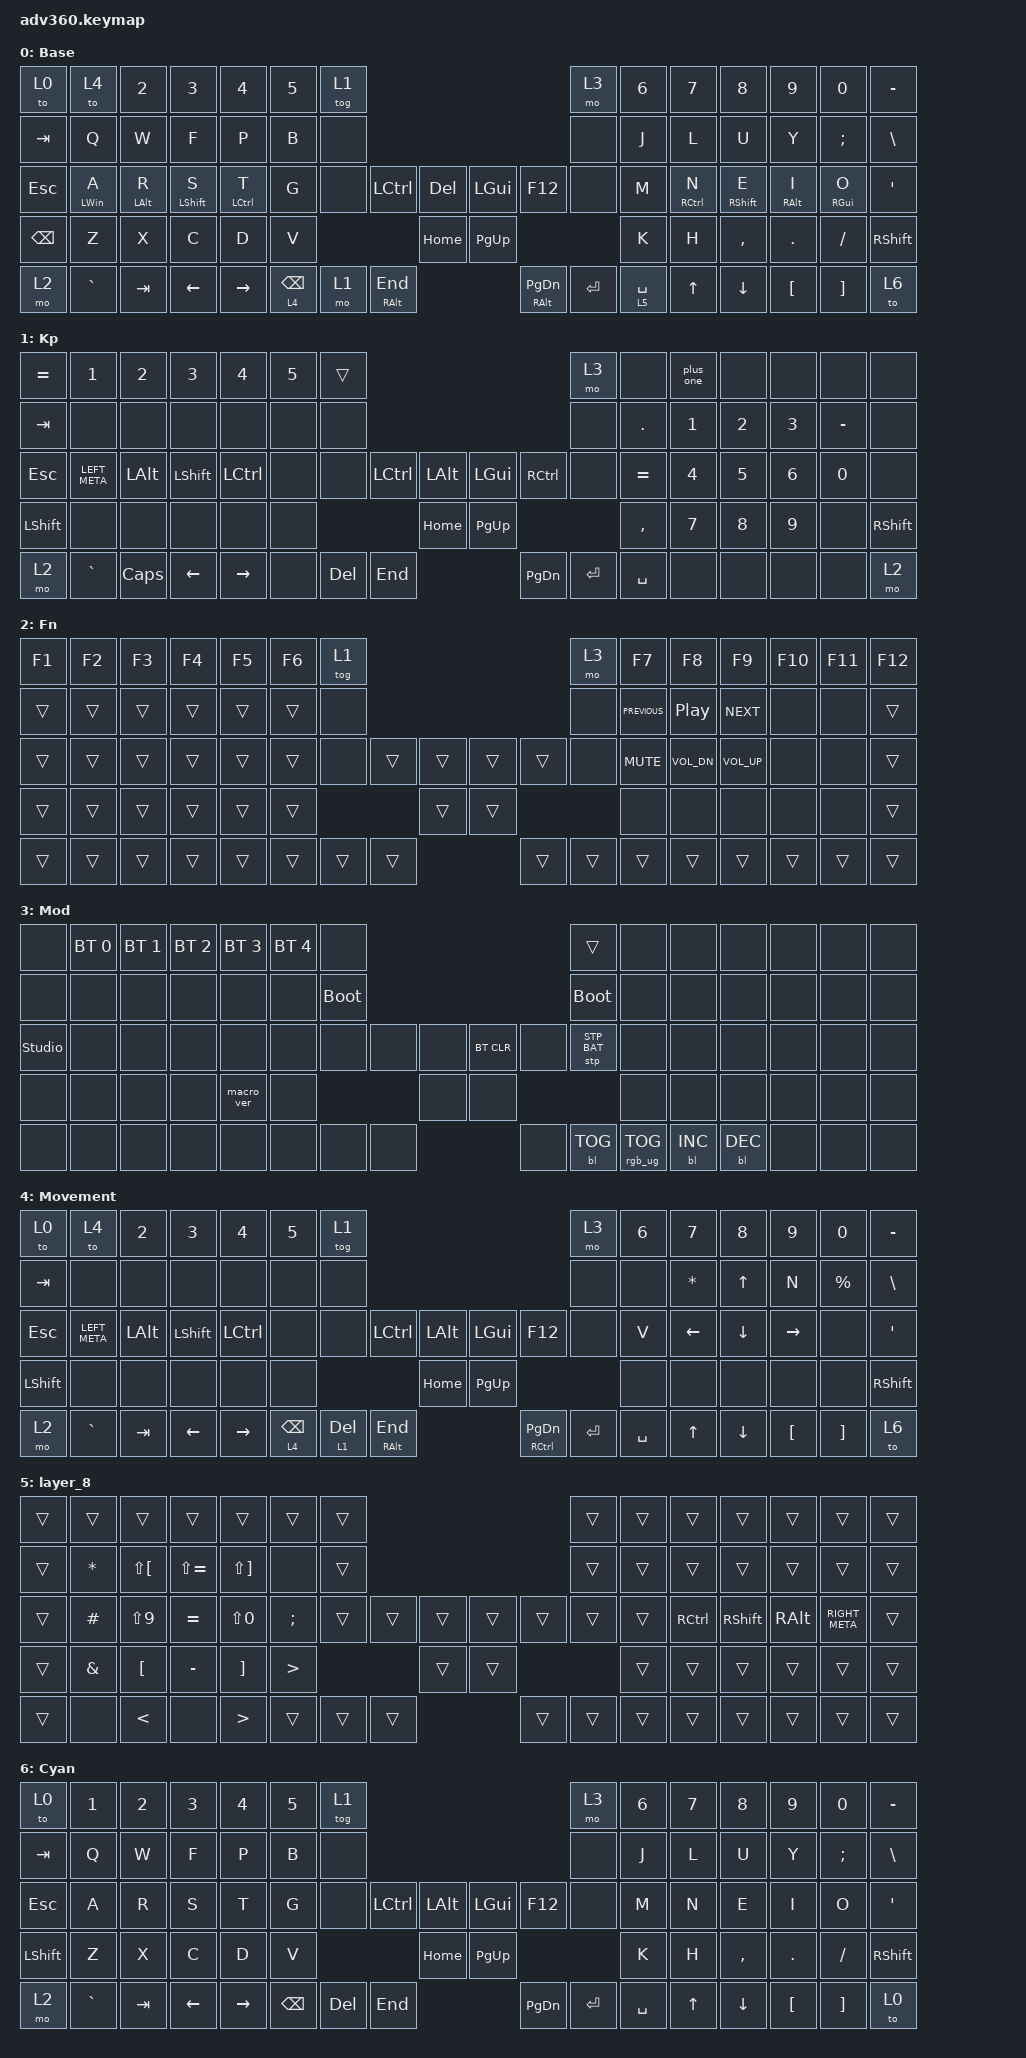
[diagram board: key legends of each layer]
#include <dt-bindings/zmk/stp.h>
#include <behaviors.dtsi>
#include <dt-bindings/zmk/backlight.h>
#include <dt-bindings/zmk/bt.h>
#include <dt-bindings/zmk/keys.h>
#include <dt-bindings/zmk/rgb.h>

/ {
    behaviors {
        #include "macros.dtsi"
        #include "version.dtsi"

        hml: homerow_mods_left {
            compatible = "zmk,behavior-hold-tap";
            label = "HML";
            bindings = <&kp>, <&kp>;

            #binding-cells = <2>;
            tapping-term-ms = <280>;
            quick-tap-ms = <175>;
            require-prior-idle-ms = <120>;
            flavor = "balanced";
            hold-trigger-on-release;
            hold-trigger-key-positions = <7 8 9 10 11 12 13 21 22 23 24 25 26 27 39 40 41 42 43 44 45 54 55 56 57 58 59 71 72 73 74 75>;
        };

        hmr: homerow_mods_right {
            compatible = "zmk,behavior-hold-tap";
            label = "HMR";
            bindings = <&kp>, <&kp>;

            #binding-cells = <2>;
            tapping-term-ms = <280>;
            quick-tap-ms = <175>;
            require-prior-idle-ms = <120>;
            flavor = "balanced";
            hold-trigger-on-release;
            hold-trigger-key-positions = <0 1 2 3 4 5 6 14 15 16 17 18 19 20 28 29 30 31 32 33 34 46 47 48 49 50 51 60 61 62 63 64>;
        };

        bspace: bspace {
            compatible = "zmk,behavior-hold-tap";
            label = "BSPACE";
            bindings = <&mo>, <&kp>;

            #binding-cells = <2>;
            flavor = "balanced";
            tapping-term-ms = <280>;
            quick-tap-ms = <200>;
            require-prior-idle-ms = <150>;
        };
    };

    combos {
        compatible = "zmk,combos";

        escape {
            bindings = <&kp ESCAPE>;
            key-positions = <41 42>;
            layers = <0>;
        };

        vim_write_all_combo {
            bindings = <&vim_write_all>;
            key-positions = <18 17>;
            layers = <0 4>;
        };

        vim_write_quit_combo {
            bindings = <&vim_wite_quit>;
            key-positions = <18 16>;
            layers = <0 4>;
        };

        caps {
            bindings = <&kp RS(CAPSLOCK)>;
            key-positions = <23 25>;
            layers = <0>;
        };

        tab {
            bindings = <&kp TAB>;
            key-positions = <23 24>;
            layers = <0>;
        };
    };

    macros {
        vim_write_all: vim_write_all {
            compatible = "zmk,behavior-macro";
            #binding-cells = <0>;
            bindings = <&kp ESCAPE &kp COLON &kp W &kp A &kp ENTER>;
            label = "VIM_WRITE_ALL";
        };

        vim_wite_quit: vim_wite_quit {
            compatible = "zmk,behavior-macro";
            #binding-cells = <0>;
            bindings = <&kp ESCAPE &kp COLON &kp W &kp Q &kp A &kp ENTER>;
            label = "VIM_WITE_QUIT";
        };

        plus_one: plus_one {
            compatible = "zmk,behavior-macro";
            #binding-cells = <0>;
            bindings = <&kp COLON &kp PLUS &kp N1 &kp COLON>;
            label = "PLUS_ONE";
        };
    };

    keymap {
        compatible = "zmk,keymap";

        default_layer {
            display-name = "Base";
            bindings = <
&to 0          &to 4            &kp N2           &kp N3             &kp N4        &kp N5  &tog 1                                                                                                            &mo 3  &kp N6  &kp N7        &kp N8              &kp N9            &kp N0            &kp MINUS
&kp TAB        &kp Q            &kp W            &kp F              &kp P         &kp B   &none                                                                                                             &none  &kp J   &kp L         &kp U               &kp Y             &kp SEMICOLON     &kp BSLH
&kp ESC        &hml LEFT_WIN A  &hml LEFT_ALT R  &hml LEFT_SHIFT S  &hml LCTRL T  &kp G   &none                        &kp LCTRL  &kp DELETE           &kp LGUI                 &kp F12                     &none  &kp M   &hmr RCTRL N  &hmr RIGHT_SHIFT E  &hmr RIGHT_ALT I  &hmr RIGHT_GUI O  &kp SQT
&kp BACKSPACE  &kp Z            &kp X            &kp C              &kp D         &kp V                                           &kp HOME             &kp PG_UP                                                   &kp K   &kp H         &kp COMMA           &kp DOT           &kp FSLH          &kp RSHFT
&mo 2          &kp GRAVE        &kp TAB          &kp LEFT           &kp RIGHT                     &bspace 4 BACKSPACE  &mo 1      &mt RIGHT_ALT END    &mt RIGHT_ALT PAGE_DOWN  &kp ENTER  &bspace 5 SPACE                 &kp UP        &kp DOWN            &kp LBKT          &kp RBKT          &to 6
            >;
        };

        keypad {
            display-name = "Kp";
            bindings = <
&kp EQUAL  &kp N1         &kp N2        &kp N3          &kp N4     &kp N5  &trans                                                                 &mo 3  &none       &plus_one     &none         &none         &none      &none
&kp TAB    &none          &none         &none           &none      &none   &none                                                                  &none  &kp PERIOD  &kp NUMBER_1  &kp NUMBER_2  &kp NUMBER_3  &kp MINUS  &none
&kp ESC    &kp LEFT_META  &kp LEFT_ALT  &kp LEFT_SHIFT  &kp LCTRL  &none   &none          &kp LCTRL  &kp LALT    &kp LGUI   &kp RCTRL             &none  &kp EQUAL   &kp NUMBER_4  &kp N5        &kp NUMBER_6  &kp N0     &none
&kp LSHFT  &none          &none         &none           &none      &none                             &kp HOME    &kp PG_UP                               &kp COMMA   &kp N7        &kp N8        &kp N9        &none      &kp RSHFT
&mo 2      &kp GRAVE      &kp CAPS      &kp LEFT        &kp RIGHT                  &none  &kp DEL    &kp END     &kp PG_DN  &kp ENTER  &kp SPACE                     &none         &none         &none         &none      &mo 2
            >;
        };

        fn {
            display-name = "Fn";
            bindings = <
&kp F1  &kp F2  &kp F3  &kp F4  &kp F5  &kp F6  &tog 1                                                    &mo 3  &kp F7          &kp F8        &kp F9        &kp F10  &kp F11  &kp F12
&trans  &trans  &trans  &trans  &trans  &trans  &none                                                     &none  &kp C_PREVIOUS  &kp C_PP      &kp C_NEXT    &none    &none    &trans
&trans  &trans  &trans  &trans  &trans  &trans  &none           &trans  &trans    &trans  &trans          &none  &kp C_MUTE      &kp C_VOL_DN  &kp C_VOL_UP  &none    &none    &trans
&trans  &trans  &trans  &trans  &trans  &trans                          &trans    &trans                         &none           &none         &none         &none    &none    &trans
&trans  &trans  &trans  &trans  &trans                  &trans  &trans  &trans    &trans  &trans  &trans                         &trans        &trans        &trans   &trans   &trans
            >;
        };

        mod {
            display-name = "Mod";
            bindings = <
&none           &bt BT_SEL 0  &bt BT_SEL 1  &bt BT_SEL 2  &bt BT_SEL 3  &bt BT_SEL 4  &none                                                                        &trans        &none  &none       &none       &none  &none  &none
&none           &none         &none         &none         &none         &none         &bootloader                                                                  &bootloader   &none  &none       &none       &none  &none  &none
&studio_unlock  &none         &none         &none         &none         &none         &none               &none  &none    &bt BT_CLR  &none                        &stp STP_BAT  &none  &none       &none       &none  &none  &none
&none           &none         &none         &none         &macro_ver    &none                                    &none    &none                                                  &none  &none       &none       &none  &none  &none
&none           &none         &none         &none         &none                                    &none  &none  &none    &none       &bl BL_TOG  &rgb_ug RGB_TOG                       &bl BL_INC  &bl BL_DEC  &none  &none  &none
            >;
        };

        movement {
            display-name = "Movement";
            bindings = <
&to 0      &to 4          &kp N2        &kp N3          &kp N4     &kp N5  &tog 1                                                                                                  &mo 3  &kp N6  &kp N7          &kp N8          &kp N9           &kp N0       &kp MINUS
&kp TAB    &none          &none         &none           &none      &none   &none                                                                                                   &none  &none   &kp STAR        &kp UP_ARROW    &kp N            &kp PERCENT  &kp BSLH
&kp ESC    &kp LEFT_META  &kp LEFT_ALT  &kp LEFT_SHIFT  &kp LCTRL  &none   &none                        &kp LCTRL  &kp LALT             &kp LGUI             &kp F12               &none  &kp V   &kp LEFT_ARROW  &kp DOWN_ARROW  &kp RIGHT_ARROW  &none        &kp SQT
&kp LSHFT  &none          &none         &none           &none      &none                                           &kp HOME             &kp PG_UP                                         &none   &none           &none           &none            &none        &kp RSHFT
&mo 2      &kp GRAVE      &kp TAB       &kp LEFT        &kp RIGHT                  &bspace 4 BACKSPACE  &lt 1 DEL  &mt RIGHT_ALT END    &mt RCTRL PAGE_DOWN  &kp ENTER  &kp SPACE                 &kp UP          &kp DOWN        &kp LBKT         &kp RBKT     &to 6
            >;
        };

        layer_8 {
            bindings = <
&trans  &trans    &trans                &trans         &trans                 &trans            &trans                                                    &trans  &trans  &trans             &trans           &trans         &trans          &trans
&trans  &kp STAR  &kp LS(LEFT_BRACKET)  &kp LS(EQUAL)  &kp LS(RIGHT_BRACKET)  &none             &trans                                                    &trans  &trans  &trans             &trans           &trans         &trans          &trans
&trans  &kp HASH  &kp LS(N9)            &kp EQUAL      &kp LS(N0)             &kp SEMICOLON     &trans          &trans  &trans    &trans  &trans          &trans  &trans  &kp RIGHT_CONTROL  &kp RIGHT_SHIFT  &kp RIGHT_ALT  &kp RIGHT_META  &trans
&trans  &kp AMPS  &kp LEFT_BRACKET      &kp MINUS      &kp RIGHT_BRACKET      &kp GREATER_THAN                          &trans    &trans                          &trans  &trans             &trans           &trans         &trans          &trans
&trans  &none     &kp LESS_THAN         &none          &kp GREATER_THAN                                 &trans  &trans  &trans    &trans  &trans  &trans                  &trans             &trans           &trans         &trans          &trans
            >;
        };

        game {
            display-name = "Cyan";
            bindings = <
&to 0      &kp N1     &kp N2   &kp N3    &kp N4     &kp N5  &tog 1                                                                              &mo 3  &kp N6  &kp N7  &kp N8     &kp N9    &kp N0         &kp MINUS
&kp TAB    &kp Q      &kp W    &kp F     &kp P      &kp B   &none                                                                               &none  &kp J   &kp L   &kp U      &kp Y     &kp SEMICOLON  &kp BSLH
&kp ESC    &kp A      &kp R    &kp S     &kp T      &kp G   &none                  &kp LCTRL   &kp LALT    &kp LGUI       &kp F12               &none  &kp M   &kp N   &kp E      &kp I     &kp O          &kp SQT
&kp LSHFT  &kp Z      &kp X    &kp C     &kp D      &kp V                                      &kp HOME    &kp PG_UP                                   &kp K   &kp H   &kp COMMA  &kp DOT   &kp FSLH       &kp RSHFT
&mo 2      &kp GRAVE  &kp TAB  &kp LEFT  &kp RIGHT                  &kp BACKSPACE  &kp DELETE  &kp END     &kp PAGE_DOWN  &kp ENTER  &kp SPACE                 &kp UP  &kp DOWN   &kp LBKT  &kp RBKT       &to 0
            >;
        };

        extra4 {
            display-name = "Yellow";
            status = "reserved";
        };
    };
};
